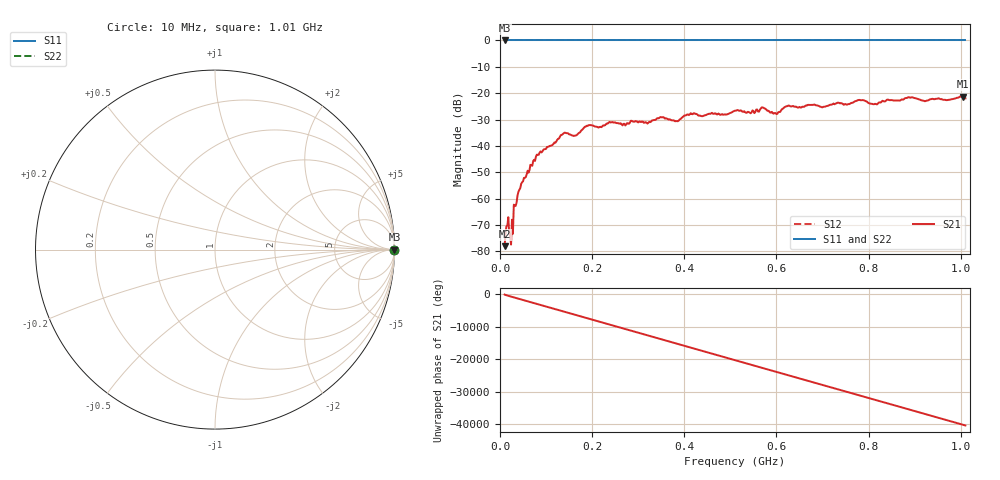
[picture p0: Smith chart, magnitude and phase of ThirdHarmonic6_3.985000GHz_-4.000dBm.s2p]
! 8/17/2025 2:12:03 PM
! C:\ANRITSUVNA\TEMP\TEMP.S2P
! CHANNEL.1
! TR.MEASUREMENT
! RAW.DATA
! RF.CORRECTION.OFF
! AVERAGING.OFF
! IF.BANDWIDTH: 5KHZ
! SWEEPTYPE:  FREQ.SWEEP(Linear)
! Reference Plane Port Info
! PORT:  PORT1  PORT2
! DISTANCE:  0  m  0  m
! TIME:  0  s  0  s
! PHASE.OFFSET:  0  deg.  0  deg.
! LOSS:  0  dB  0  dB
! REF.LOSS:  0  dB  0  dB
! REF.FREQ:  0  Hz  0  Hz
! Power Info
! POWER:  -20  dBm  -20  dBm
! EFF.POWER:  -20  dBm  -20  dBm
! SOURCE.ATTEN:  0  dB  0  dB
! TEST.ATTEN:  0  dB  0  dB
# GHZ S RI R 50.0
! FREQ.GHZ  S11RE  S11IM  S21RE  S21IM  S12RE  S12IM  S22RE  S22IM
!; PortSelection: Port_12
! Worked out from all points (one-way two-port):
!   501 points, 10 MHz to 1.01 GHz, reference 50 ohm
!   highest |S21| = -21.29 dB at 1.004 GHz (marker M1); lowest = -78.1 dB at 10 MHz (marker M2)
!   lowest |S11| = 0.0 dB at 10 MHz (marker M3)
!   |S11| at or under -10 dB: nowhere
!   |S22| runs from 0.0 to 0.0 dB; largest |S21 - S12| = 1.1
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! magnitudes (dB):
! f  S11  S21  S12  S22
! 10 MHz  0.0  -78.1  0.0  0.0
! 16 MHz  0.0  -70.2  0.0  0.0
! 24 MHz  0.0  -77.5  0.0  0.0
! 34 MHz  0.0  -62.8  0.0  0.0
! 42 MHz  0.0  -56.7  0.0  0.0
! 76 MHz  0.0  -45.7  0.0  0.0
! 136 MHz  0.0  -35.6  0.0  0.0
! 162 MHz  0.0  -36.1  0.0  0.0
! 178 MHz  0.0  -34.0  0.0  0.0
! 192 MHz  0.0  -32.2  0.0  0.0
! 322 MHz  0.0  -31.2  0.0  0.0
! 344 MHz  0.0  -29.6  0.0  0.0
! 384 MHz  0.0  -30.6  0.0  0.0
! 418 MHz  0.0  -28.0  0.0  0.0
! 510 MHz  0.0  -26.6  0.0  0.0
! 572 MHz  0.0  -25.6  0.0  0.0
! 598 MHz  0.0  -27.6  0.0  0.0
! 624 MHz  0.0  -24.9  0.0  0.0
! 678 MHz  0.0  -24.5  0.0  0.0
! 844 MHz  0.0  -22.6  0.0  0.0
! 1.004 GHz  0.0  -21.3  0.0  0.0
! 1.01 GHz  0.0  -22.0  0.0  0.0
